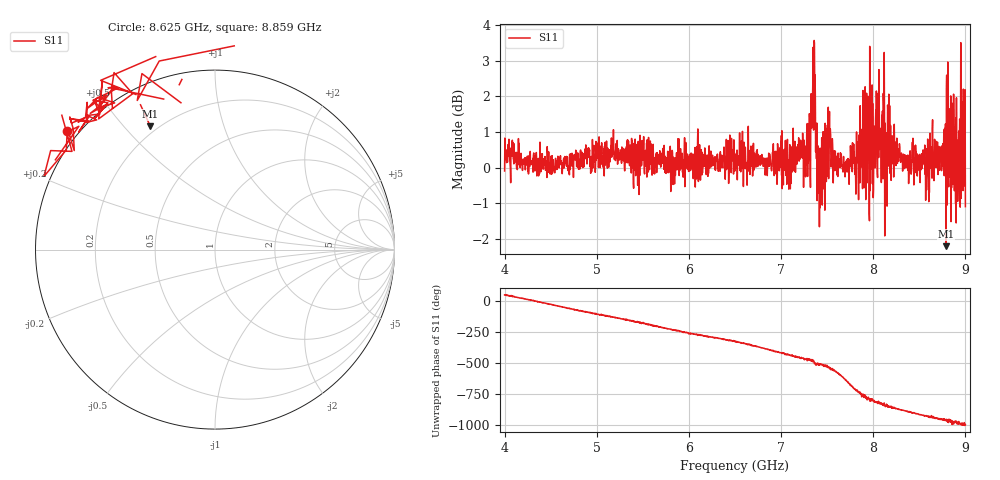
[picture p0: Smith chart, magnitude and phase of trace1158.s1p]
! Created with skrf 1.8.0 (http://scikit-rf.org).
# Hz S RI R 50.0
!freq ReS11 ImS11
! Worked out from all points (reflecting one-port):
!   1601 points, 4 GHz to 9 GHz, reference 50 ohm
!   lowest |S11| = -2.2 dB at 8.791 GHz (marker M1), VSWR 7.92, Z = 8.57 + j29.6 ohm
!   phase of S11 starts at 50 deg and turns -1047 deg over the sweep
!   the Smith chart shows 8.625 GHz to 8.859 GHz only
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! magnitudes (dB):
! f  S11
! 4 GHz  -0.1
! 4.028 GHz  0.5
! 4.625 GHz  -0.2
! 5.25 GHz  0.2
! 5.875 GHz  0.1
! 6.5 GHz  0.3
! 7.125 GHz  0.5
! 7.294 GHz  0.1
! 7.347 GHz  3.4
! 7.369 GHz  2.6
! 7.397 GHz  -0.3
! 7.422 GHz  -1.1
! 7.509 GHz  0.3
! 7.591 GHz  0.3
! 7.75 GHz  0.0
! 7.816 GHz  0.1
! 7.962 GHz  3.4
! 8.022 GHz  0.0
! 8.05 GHz  2.1
! 8.375 GHz  0.2
! 8.588 GHz  0.1
! 8.641 GHz  1.1
! 8.766 GHz  1.1
! 8.791 GHz  -2.2
! 8.819 GHz  -0.5
! 8.919 GHz  -0.6
! 8.972 GHz  0.5
! 9 GHz  -1.1
